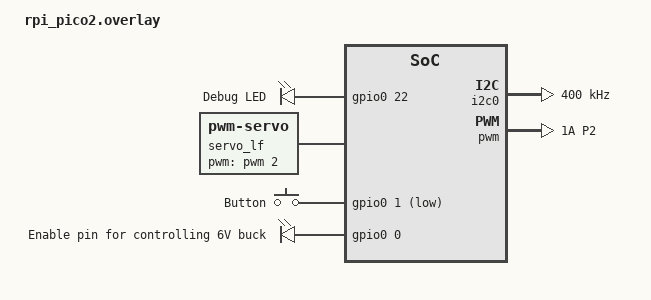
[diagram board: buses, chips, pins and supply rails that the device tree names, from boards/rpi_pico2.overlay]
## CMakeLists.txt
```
cmake_minimum_required(VERSION 3.28.0)

set(DTC_OVERLAY_FILE "${CMAKE_CURRENT_SOURCE_DIR}/boards/rpi_pico2.overlay")
find_package(Zephyr REQUIRED HINTS $ENV{ZEPHYR_BASE})
project(araneo LANGUAGES C)

target_include_directories(app PRIVATE inc)
target_sources(app PRIVATE
  src/main.c
  # src/oled.c
  # src/icons.c
  # src/servo.c
  # src/commands.c
  # src/button.c
  # src/display_manager.c
  # src/led.c
  # src/buck.c
  src/wifi.c
  src/communication.c
)
```

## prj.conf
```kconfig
CONFIG_LOG=y
CONFIG_LOG_PRINTK=y
CONFIG_LOG_DEFAULT_LEVEL=3

CONFIG_I2C=y
CONFIG_GPIO=y
CONFIG_ADC=y
CONFIG_PWM=y

CONFIG_DISPLAY=y
CONFIG_SSD1306=y

CONFIG_CHARACTER_FRAMEBUFFER=y

CONFIG_HEAP_MEM_POOL_SIZE=20000

CONFIG_SHELL=y
CONFIG_SHELL_BACKENDS=y
CONFIG_SHELL_BACKEND_SERIAL=y

CONFIG_NETWORKING=y
CONFIG_TEST_RANDOM_GENERATOR=y
CONFIG_NET_IPV4=y
CONFIG_NET_IPV6=n
CONFIG_NET_DHCPV4=y
CONFIG_NET_TCP=y
CONFIG_NET_SOCKETS=y

CONFIG_MAIN_STACK_SIZE=5200
CONFIG_SHELL_STACK_SIZE=5200
CONFIG_NET_TX_STACK_SIZE=2048
CONFIG_NET_RX_STACK_SIZE=2048

CONFIG_NET_PKT_RX_COUNT=10
CONFIG_NET_PKT_TX_COUNT=10
CONFIG_NET_BUF_RX_COUNT=20
CONFIG_NET_BUF_TX_COUNT=20
CONFIG_NET_MAX_CONTEXTS=10

CONFIG_WIFI=y
CONFIG_WIFI_LOG_LEVEL_ERR=y
CONFIG_NET_L2_WIFI_SHELL=y
CONFIG_NET_MGMT_EVENT_QUEUE_TIMEOUT=5000
CONFIG_NET_MGMT_EVENT_QUEUE_SIZE=16

CONFIG_NET_LOG=y
CONFIG_INIT_STACKS=y
CONFIG_NET_SHELL=y

CONFIG_CBPRINTF_FP_SUPPORT=y
```

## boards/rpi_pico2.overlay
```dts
/ {
  leds {
    compatible = "gpio-leds";
    debug_led: debug-led {
      gpios = <&gpio0 22 GPIO_ACTIVE_HIGH>;
      label = "Debug LED";
    };
  };

  servo_lf: servo-lf {
    compatible = "pwm-servo";
    pwms = <&pwm 2 PWM_MSEC(20) PWM_POLARITY_NORMAL>;
    min-pulse = <PWM_USEC(1000)>;
    max-pulse = <PWM_USEC(2000)>;
  };

  buttons {
    compatible = "gpio-keys";
    button: button {
      gpios = <&gpio0 1 (GPIO_PULL_UP | GPIO_ACTIVE_LOW)>;
      label = "Button";
    };
  };

  power_rails {
    compatible = "gpio-leds";
    buck_en: buck_en {
      gpios = <&gpio0 0 GPIO_ACTIVE_HIGH>;
      label = "Enable pin for controlling 6V buck";
    };
  };

  aliases {
    display0 = &oled;
    debugled = &debug_led;
    servolf = &servo_lf;
    sw0 = &button;
    buck = &buck_en;
  };

  chosen {
    zephyr,display = &oled;
  };
};

&pinctrl {
  i2c0_default: i2c0_default {
    group1 {
      pinmux = <I2C0_SDA_P16>, <I2C0_SCL_P17>;
      bias-pull-up;
      input-enable;
      input-schmitt-enable;
    };
  };

  pwm_default: pwm_default {
    group1 {
      pinmux = <PWM_1A_P2>;
    };
  };
};

&i2c0 {
  status = "okay";
  clock-frequency = <I2C_BITRATE_FAST>;
  pinctrl-0 = <&i2c0_default>;
  pinctrl-names = "default";

  oled: oled@3c {
    status = "disabled";
    compatible="solomon,ssd1306";
    reg = <0x3c>;
    height = <64>;
    width = <128>;
    com-invdir;
    segment-remap;
    page-offset = <0>;
    segment-offset = <0>;
    display-offset = <0>;
    multiplex-ratio = <63>;
    prechargep = <0x22>;
  };
};

&pwm {
  status = "okay";
  pinctrl-0 = <&pwm_default>;
  pinctrl-names = "default";
  divider-int-1 = <128>; 
};

&gpio0 {
  status = "okay";
};
```

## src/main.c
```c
#include "button.h"
#include "servo.h"
#include "led.h"
#include "buck.h"
#include "wifi.h"
#include "communication.h"
#include <zephyr/kernel.h>

int main(void) {
  // if (servo_init(SERVO_COXA_LEFT_BACK) < 0)
  //   return 1;
  //
  // if (button_init() < 0) {
  //   return 2;
  // }
  //
  // if (led_init() < 0) {
  //   return 3;
  // }
  //
  // if (buck_init() < 0) {
  //   return 4;
  // }

  wifi_init();
  communication_start_thread();
  // buck_on();

  struct robot_command curr_cmd;

  while (1) {
    get_latest_command(&curr_cmd);
    // toggle_led();
    k_msleep(2000);
  }
  return 0;
}
```

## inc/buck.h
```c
#ifndef BUCK_H__
#define BUCK_H__

int buck_init(void);
void buck_on(void);
void buck_off(void);

#endif // BUCK_H__
```

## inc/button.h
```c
#ifndef BUTTON_H__
#define BUTTON_H__

#include <zephyr/drivers/gpio.h>

int button_init(void);

#endif // BUTTON_H__
```

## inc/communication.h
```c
#ifndef COMMUNICATION_H
#define COMMUNICATION_H

#include <zephyr/kernel.h>

#define WIFI_STACK_SIZE 4096
#define WIFI_PRIORITY 7
#define CMD_TIMEOUT_MS 500

struct __packed robot_packet {
  float angle[8];
};

struct robot_command {
  float angle[8];
  int64_t stamp_ms;
};

bool get_latest_command(struct robot_command *cmd);
void communication_start_thread(void);

#endif // COMMUNICATION_H
```

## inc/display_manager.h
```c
#ifndef DISPLAY_MANAGER_H
#define DISPLAY_MANAGER_H

#define ANIM_FACE_COUNT (ICON_COUNT - 6)

void display_trigger_change(void);

#endif // DISPLAY_MANAGER_H
```

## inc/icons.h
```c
#ifndef ICONS_H__
#define ICONS_H__

#include <stdint.h>

typedef enum {
  ICON_STANDARD = 0,
  ICON_SMILE,
  ICON_ANGRY,
  ICON_SAD,
  ICON_EXCITED,
  ICON_SLEEP,
  ICON_KIDDING,
  ICON_ELIZA,
  ICON_SHOCKED,
  ICON_BATTERY_FULL,
  ICON_BATTERY_EMPTY,
  ICON_BATTERY_1,
  ICON_BATTERY_2,
  ICON_BATTERY_3,
  ICON_BATTERY_4,

  ICON_COUNT
} icon_id_t;

struct icon_arg_map {
  const char *arg;
  icon_id_t id;
};

const uint8_t *get_icon(icon_id_t id);
int icon_id_from_str(const char *str, icon_id_t *id);

#endif // ICONS_H__
```

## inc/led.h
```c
#ifndef LED_H__
#define LED_H__

int led_init(void);
void set_led_on(void);
void set_led_off(void);
void toggle_led(void);

#endif // LED_H__
```

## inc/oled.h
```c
#ifndef OLED_H__
#define OLED_H__

#include <stdint.h>

#define OLED_WIDTH 128
#define OLED_HEIGHT 64

void setup_display(void);
void draw_img(const uint8_t *img);

#endif // OLED_H__
```

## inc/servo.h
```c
#ifndef SERVO_H__
#define SERVO_H__

#include <zephyr/kernel.h>
#include <zephyr/drivers/pwm.h>

#define MIN_PULSE_US 1000
#define MAX_PULSE_US 2000

#define SERVO_COXA_LEFT_FRONT_OFFSET 0
#define SERVO_COXA_RIGHT_FRONT_OFFSET 0
#define SERVO_COXA_LEFT_BACK_OFFSET 0
#define SERVO_COXA_RIGHT_BACK_OFFSET 0
#define SERVO_TIBIA_LEFT_FRONT_OFFSET 0
#define SERVO_TIBIA_RIGHT_FRONT_OFFSET 0
#define SERVO_TIBIA_LEFT_BACK_OFFSET 0
#define SERVO_TIBIA_RIGHT_BACK_OFFSET 0

typedef enum {
  SERVO_COXA_LEFT_FRONT = 0,
  SERVO_COXA_RIGHT_FRONT,
  SERVO_COXA_LEFT_BACK,
  SERVO_COXA_RIGHT_BACK,
  SERVO_TIBIA_LEFT_FRONT,
  SERVO_TIBIA_RIGHT_FRONT,
  SERVO_TIBIA_LEFT_BACK,
  SERVO_TIBIA_RIGHT_BACK,

  SERVO_COUNT
} servo_id_t;

struct servo_config {
  struct pwm_dt_spec pwm;
  int32_t offset_deg;
  int32_t current_angle;
};

struct servo_arg_map {
  const char *arg;
  servo_id_t id;
};

int servo_init_all(void);
int servo_id_from_str(const char *str, servo_id_t *id);
int servo_init(servo_id_t id);
int servo_set_angle(servo_id_t id, uint32_t angle_deg);
int32_t servo_get_angle(servo_id_t id);

#endif // SERVO_H__
```

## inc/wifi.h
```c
#ifndef WIFI_H
#define WIFI_H

#include <zephyr/kernel.h>
#include <zephyr/net/socket.h>

#define UDP_PORT 42069

int wifi_init(void);
bool network_is_connected(void);
void set_ip_address(void);
int udp_create_socket(struct net_sockaddr_in *serv);
int udp_init_client(struct net_sockaddr_in *client);
ssize_t udp_send(int sock, char *data, size_t len, struct net_sockaddr_in
                 *client);
ssize_t udp_recv(int sock, char *buf, size_t max_len, struct net_sockaddr_in
                 *client);

#endif // WIFI_H
```

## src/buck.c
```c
#include "buck.h"
#include <zephyr/drivers/gpio.h>
#include <zephyr/logging/log.h>

LOG_MODULE_REGISTER(buck, LOG_LEVEL_INF);
static const struct gpio_dt_spec buck_en = GPIO_DT_SPEC_GET(DT_ALIAS(buck), gpios);

int buck_init(void) {
  if (!gpio_is_ready_dt(&buck_en)) {
    LOG_ERR("Error: Buck isn't ready.");
    return -ENODEV;
  }

  int ret;

  ret = gpio_pin_configure_dt(&buck_en, GPIO_OUTPUT_INACTIVE);

  if (ret < 0) {
    LOG_ERR("Error configuring buck GPIO: %d.", ret);
    return ret;
  }

  return 0;
}

void buck_on(void) {
  gpio_pin_set_dt(&buck_en, 1);
}

void buck_off(void) {
  gpio_pin_set_dt(&buck_en, 0);
}
```

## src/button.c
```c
#include "button.h"
#include "display_manager.h"
#include <zephyr/kernel.h>
#include <zephyr/drivers/gpio.h>
#include <zephyr/logging/log.h>

LOG_MODULE_REGISTER(button, LOG_LEVEL_INF);

static const struct gpio_dt_spec button = GPIO_DT_SPEC_GET(DT_ALIAS(sw0),
                                                           gpios);
static struct gpio_callback button_cb_data;

static void button_pressed_isr(const struct device *dev, struct gpio_callback
                               *cb, uint32_t pins) {
  static int64_t last_press_time = 0;
  int64_t now = k_uptime_get();

  if (now - last_press_time > 200) {
    last_press_time = now;
    display_trigger_change();
  }
}

int button_init(void) {
  int ret;

  if (!gpio_is_ready_dt(&button)) {
    LOG_ERR("GPIO for button isn't ready.");
    return -ENODEV;
  }

  ret = gpio_pin_configure_dt(&button, GPIO_INPUT);

  if (ret < 0) {
    LOG_ERR("Error configuring button GPIO: %d.", ret);
    return ret;
  }

  ret = gpio_pin_interrupt_configure_dt(&button, GPIO_INT_EDGE_TO_ACTIVE);

  if (ret < 0) {
    LOG_ERR("Error configuring interrupt for button: %d", ret);
    return ret;
  }

  gpio_init_callback(&button_cb_data, button_pressed_isr, BIT(button.pin));
  ret = gpio_add_callback(button.port, &button_cb_data);

  if (ret < 0) {
    LOG_ERR("Error adding GPIO callback for button %d.", ret);
    return ret;
  }

  return 0;
}
```

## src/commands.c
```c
#include "commands.h"
#include <stdlib.h>
#include "icons.h"
#include "servo.h"
#include "oled.h"

int cmd_servo_set_angle(const struct shell *sh, int argc, char **argv) {
  if (argc < 3) {
    shell_error(sh, "Usage: servo [servo_id] <(coxa | tibia)_(lf | rf | lb | "
                "lf)> [angle] <0-180>");
    shell_error(sh, "Example: servo coxa_lb 120");
    return -1;
  }

  const char *servo_arg = argv[1];
  servo_id_t servo_id;

  if (servo_id_from_str(argv[1], &servo_id) < 0) {
    shell_error(sh, "Unknown servo.");
    return -2;
  }

  char *end;
  long angle = strtol(argv[2], &end, 10);

  if (*end != '\0' || angle < 0 || angle > 180) {
    shell_error(sh, "Invalid angle. Use angle in interval [0-180].");
    return -3;
  }

  int ret = servo_set_angle(servo_id, (int32_t)angle);

  if (ret < 0) {
    shell_error(sh, "Error (%d) setting angle %ld for servo %s.", ret, angle, servo_arg);
    return ret;
  }

  return 0;
}

int cmd_oled_set_face(const struct shell *sh, int argc, char **argv) {
  if (argc < 1) {
    shell_error(sh, "Usage: face [face_id] <standard | angry | sad | smile | "
                "kidding | eliza | sleep | shocked | excited>");
    return -1;
  }

  icon_id_t icon_id;

  if (icon_id_from_str(argv[1], &icon_id) < 0) {
    shell_error(sh, "Unknown icon.");
    return -2;
  }

  draw_img(get_icon(icon_id));
  return 0;
}

SHELL_CMD_REGISTER(servo, NULL, "Servos commands", cmd_servo_set_angle);
SHELL_CMD_REGISTER(face, NULL, "OLED commands", cmd_oled_set_face);
```
